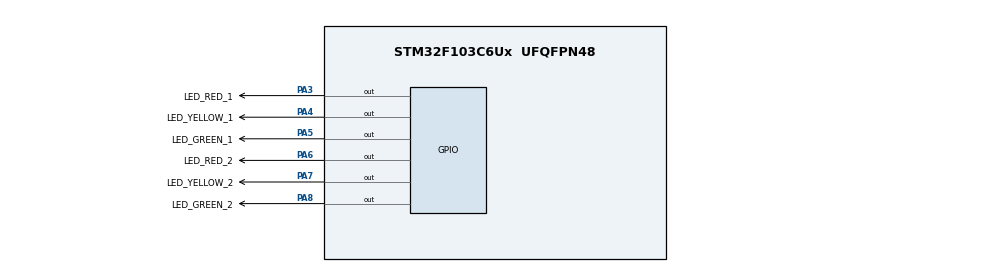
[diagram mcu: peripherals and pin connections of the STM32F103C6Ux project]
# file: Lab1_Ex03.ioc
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Mcu.Family=STM32F1
Mcu.Name=STM32F103C6Ux
Mcu.Package=UFQFPN48
NVIC.PriorityGroup=NVIC_PRIORITYGROUP_4
PA3.GPIO_Label=LED_RED_1
PA3.Signal=GPIO_Output
PA4.GPIO_Label=LED_YELLOW_1
PA4.Signal=GPIO_Output
PA5.GPIO_Label=LED_GREEN_1
PA5.Signal=GPIO_Output
PA6.GPIO_Label=LED_RED_2
PA6.Signal=GPIO_Output
PA7.GPIO_Label=LED_YELLOW_2
PA7.Signal=GPIO_Output
PA8.GPIO_Label=LED_GREEN_2
PA8.Signal=GPIO_Output
ProjectManager.HeapSize=0x200
ProjectManager.StackSize=0x400
ProjectManager.TargetToolchain=STM32CubeIDE
RCC.APB1Freq_Value=8000000
RCC.APB2Freq_Value=8000000
VP_SYS_VS_ND.Mode=No_Debug
board=custom

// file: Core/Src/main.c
/* USER CODE BEGIN Header */
/**
  ******************************************************************************
  * @file           : main.c
  * @brief          : Main program body
  ******************************************************************************
  * @attention
  *
  * <h2><center>&copy; Copyright (c) 2022 STMicroelectronics.
  * All rights reserved.</center></h2>
  *
  * This software component is licensed by ST under BSD 3-Clause license,
  * the "License"; You may not use this file except in compliance with the
  * License. You may obtain a copy of the License at:
  *                        opensource.org/licenses/BSD-3-Clause
  *
  ******************************************************************************
  */
/* USER CODE END Header */
#include "main.h"

void SystemClock_Config(void);
static void MX_GPIO_Init(void);

int main(void)
{

  /* MCU Configuration--------------------------------------------------------*/

  /* Reset of all peripherals, Initializes the Flash interface and the Systick. */
  HAL_Init();

  /* Configure the system clock */
  SystemClock_Config();

  /* Initialize all configured peripherals */
  MX_GPIO_Init();

  /* Infinite loop */
  while (1)
  {

    /* USER CODE BEGIN 3 */
	  //LED_RED_1: 3s
	  HAL_GPIO_WritePin(LED_RED_1_GPIO_Port, LED_RED_1_Pin, GPIO_PIN_RESET);
	  HAL_GPIO_WritePin(LED_GREEN_1_GPIO_Port, LED_GREEN_1_Pin, GPIO_PIN_SET);
	  HAL_GPIO_WritePin(LED_YELLOW_1_GPIO_Port, LED_YELLOW_1_Pin, GPIO_PIN_SET);
	  // LED_GREEN_2: 3s
	  HAL_GPIO_WritePin(LED_RED_2_GPIO_Port, LED_RED_2_Pin, GPIO_PIN_SET);
	  HAL_GPIO_WritePin(LED_GREEN_2_GPIO_Port, LED_GREEN_2_Pin, GPIO_PIN_RESET);
	  HAL_GPIO_WritePin( LED_YELLOW_2_GPIO_Port , LED_YELLOW_2_Pin,GPIO_PIN_SET);
	  HAL_Delay(3000);

	  //LED_RED_1: 2s
	  HAL_GPIO_WritePin(LED_RED_1_GPIO_Port, LED_RED_1_Pin, GPIO_PIN_RESET);
	  HAL_GPIO_WritePin(LED_GREEN_1_GPIO_Port, LED_GREEN_1_Pin, GPIO_PIN_SET);
	  HAL_GPIO_WritePin(LED_YELLOW_1_GPIO_Port, LED_YELLOW_1_Pin, GPIO_PIN_SET);
	  //LED_YELLOW_2: 2s
	  HAL_GPIO_WritePin(LED_RED_2_GPIO_Port , LED_RED_2_Pin ,GPIO_PIN_SET);
	  HAL_GPIO_WritePin(LED_GREEN_2_GPIO_Port, LED_GREEN_2_Pin, GPIO_PIN_SET);
	  HAL_GPIO_WritePin(LED_YELLOW_2_GPIO_Port , LED_YELLOW_2_Pin, GPIO_PIN_RESET);
	  HAL_Delay(2000);

	  //LED_RED_2: 3s
	  HAL_GPIO_WritePin(LED_RED_2_GPIO_Port, LED_RED_2_Pin, GPIO_PIN_RESET);
	  HAL_GPIO_WritePin(LED_GREEN_2_GPIO_Port, LED_GREEN_2_Pin, GPIO_PIN_SET);
	  HAL_GPIO_WritePin(LED_YELLOW_2_GPIO_Port, LED_YELLOW_2_Pin, GPIO_PIN_SET);
	  // LED_GREEN_1: 3s
	  HAL_GPIO_WritePin(LED_RED_1_GPIO_Port, LED_RED_1_Pin, GPIO_PIN_SET);
	  HAL_GPIO_WritePin(LED_GREEN_1_GPIO_Port, LED_GREEN_1_Pin, GPIO_PIN_RESET);
	  HAL_GPIO_WritePin( LED_YELLOW_1_GPIO_Port , LED_YELLOW_1_Pin,GPIO_PIN_SET);
	  HAL_Delay(3000);

	  //LED_RED_2: 2s
	  HAL_GPIO_WritePin(LED_RED_2_GPIO_Port, LED_RED_2_Pin, GPIO_PIN_RESET);
	  HAL_GPIO_WritePin(LED_GREEN_2_GPIO_Port, LED_GREEN_2_Pin, GPIO_PIN_SET);
	  HAL_GPIO_WritePin(LED_YELLOW_2_GPIO_Port, LED_YELLOW_2_Pin, GPIO_PIN_SET);
	  //LED_YELLOW_1: 2s
	  HAL_GPIO_WritePin(LED_RED_1_GPIO_Port , LED_RED_1_Pin ,GPIO_PIN_SET);
	  HAL_GPIO_WritePin(LED_GREEN_1_GPIO_Port, LED_GREEN_1_Pin, GPIO_PIN_SET);
	  HAL_GPIO_WritePin(LED_YELLOW_1_GPIO_Port , LED_YELLOW_1_Pin, GPIO_PIN_RESET);
	  HAL_Delay(2000);
  }
  /* USER CODE END 3 */
}

void SystemClock_Config(void)
{
  RCC_OscInitTypeDef RCC_OscInitStruct = {0};
  RCC_ClkInitTypeDef RCC_ClkInitStruct = {0};

  /** Initializes the RCC Oscillators according to the specified parameters
  * in the RCC_OscInitTypeDef structure.
  */
  RCC_OscInitStruct.OscillatorType = RCC_OSCILLATORTYPE_HSI;
  RCC_OscInitStruct.HSIState = RCC_HSI_ON;
  RCC_OscInitStruct.HSICalibrationValue = RCC_HSICALIBRATION_DEFAULT;
  RCC_OscInitStruct.PLL.PLLState = RCC_PLL_NONE;
  if (HAL_RCC_OscConfig(&RCC_OscInitStruct) != HAL_OK)
  {
    Error_Handler();
  }
  /** Initializes the CPU, AHB and APB buses clocks
  */
  RCC_ClkInitStruct.ClockType = RCC_CLOCKTYPE_HCLK|RCC_CLOCKTYPE_SYSCLK
                              |RCC_CLOCKTYPE_PCLK1|RCC_CLOCKTYPE_PCLK2;
  RCC_ClkInitStruct.SYSCLKSource = RCC_SYSCLKSOURCE_HSI;
  RCC_ClkInitStruct.AHBCLKDivider = RCC_SYSCLK_DIV1;
  RCC_ClkInitStruct.APB1CLKDivider = RCC_HCLK_DIV1;
  RCC_ClkInitStruct.APB2CLKDivider = RCC_HCLK_DIV1;

  if (HAL_RCC_ClockConfig(&RCC_ClkInitStruct, FLASH_LATENCY_0) != HAL_OK)
  {
    Error_Handler();
  }
}

static void MX_GPIO_Init(void)
{
  GPIO_InitTypeDef GPIO_InitStruct = {0};

  /* GPIO Ports Clock Enable */
  __HAL_RCC_GPIOA_CLK_ENABLE();

  /*Configure GPIO pin Output Level */
  HAL_GPIO_WritePin(GPIOA, LED_RED_1_Pin|LED_YELLOW_1_Pin|LED_GREEN_1_Pin|LED_RED_2_Pin
                          |LED_YELLOW_2_Pin|LED_GREEN_2_Pin, GPIO_PIN_RESET);

  /*Configure GPIO pins : LED_RED_1_Pin LED_YELLOW_1_Pin LED_GREEN_1_Pin LED_RED_2_Pin
                           LED_YELLOW_2_Pin LED_GREEN_2_Pin */
  GPIO_InitStruct.Pin = LED_RED_1_Pin|LED_YELLOW_1_Pin|LED_GREEN_1_Pin|LED_RED_2_Pin
                          |LED_YELLOW_2_Pin|LED_GREEN_2_Pin;
  GPIO_InitStruct.Mode = GPIO_MODE_OUTPUT_PP;
  GPIO_InitStruct.Pull = GPIO_NOPULL;
  GPIO_InitStruct.Speed = GPIO_SPEED_FREQ_LOW;
  HAL_GPIO_Init(GPIOA, &GPIO_InitStruct);

}

void Error_Handler(void)
{
  __disable_irq();
  while (1)
  {
  }
}

/************************ (C) COPYRIGHT STMicroelectronics *****END OF FILE****/
